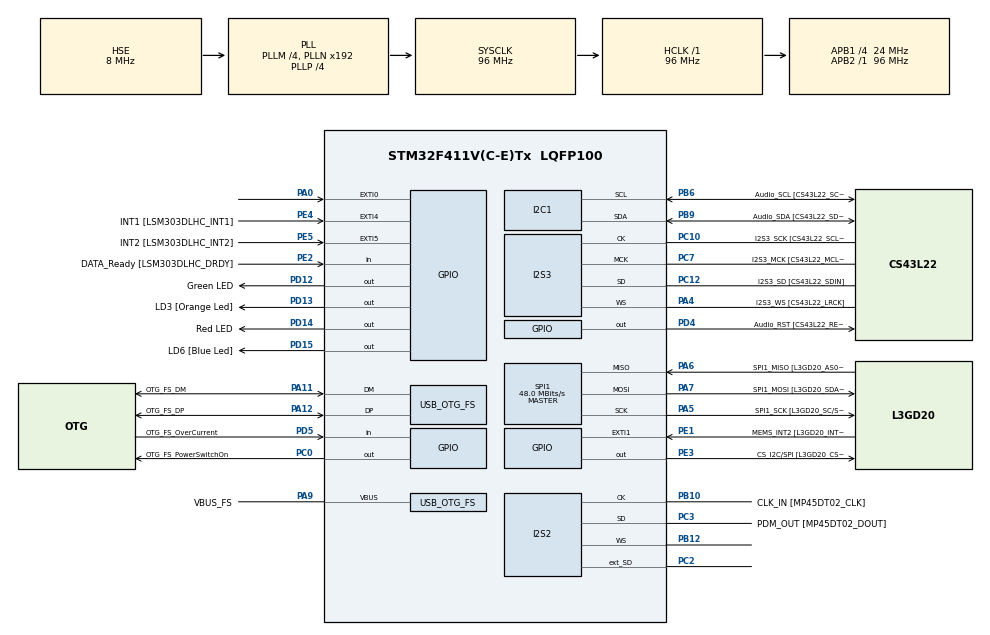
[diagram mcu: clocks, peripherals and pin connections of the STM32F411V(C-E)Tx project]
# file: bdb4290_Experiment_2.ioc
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FREERTOS.INCLUDE_vTaskDelayUntil=1
FREERTOS.Tasks01=FlashGreenLedTa,0,128,StartFlashGreenLedTask,Default,NULL,Dynamic,NULL,NULL;FlashRedLedTask,0,128,StartRedFlashLedTask,Default,NULL,Dynamic,NULL,NULL
I2S2.AudioFreq=I2S_AUDIOFREQ_96K
I2S2.ErrorAudioFreq=0.15 %
I2S2.FullDuplexMode=I2S_FULLDUPLEXMODE_ENABLE
I2S2.Instance=SPI$Index
I2S2.RealAudioFreq=96.153 KHz
I2S2.VirtualMode=I2S_MODE_MASTER
I2S3.AudioFreq=I2S_AUDIOFREQ_96K
I2S3.ErrorAudioFreq=-6.99 %
I2S3.FullDuplexMode=I2S_FULLDUPLEXMODE_DISABLE
I2S3.Instance=SPI$Index
I2S3.RealAudioFreq=89.285 KHz
I2S3.VirtualMode=I2S_MODE_MASTER
Mcu.Family=STM32F4
Mcu.Name=STM32F411V(C-E)Tx
Mcu.Package=LQFP100
NVIC.OTG_FS_IRQn=true\:5\:0\:false\:false\:true\:true\:true\:true
NVIC.PriorityGroup=NVIC_PRIORITYGROUP_4
NVIC.TIM1_UP_TIM10_IRQn=true\:0\:0\:false\:false\:true\:false\:false\:true
NVIC.TimeBase=TIM1_UP_TIM10_IRQn
NVIC.TimeBaseIP=TIM1
PA0-WKUP.GPIO_ModeDefaultEXTI=GPIO_MODE_EVT_RISING
PA0-WKUP.Signal=GPXTI0
PA10.GPIO_Label=OTG_FS_ID
PA10.Signal=USB_OTG_FS_ID
PA11.GPIO_Label=OTG_FS_DM
PA11.Mode=Host_Only
PA11.Signal=USB_OTG_FS_DM
PA12.GPIO_Label=OTG_FS_DP
PA12.Mode=Host_Only
PA12.Signal=USB_OTG_FS_DP
PA13.GPIO_Label=SWDIO
PA13.Mode=Serial_Wire
PA13.Signal=SYS_JTMS-SWDIO
PA14.GPIO_Label=SWCLK
PA14.Mode=Serial_Wire
PA14.Signal=SYS_JTCK-SWCLK
PA4.GPIO_Label=I2S3_WS [CS43L22_LRCK]
PA4.GPIO_Mode=GPIO_MODE_AF_PP
PA4.GPIO_PuPd=GPIO_NOPULL
PA4.GPIO_Speed=GPIO_SPEED_FREQ_LOW
PA4.Mode=Half_Duplex_Master
PA4.Signal=I2S3_WS
PA5.GPIO_Label=SPI1_SCK [L3GD20_SC/SPC]
PA5.Mode=Full_Duplex_Master
PA5.Signal=SPI1_SCK
PA6.GPIO_Label=SPI1_MISO [L3GD20_AS0/SDO]
PA6.Mode=Full_Duplex_Master
PA6.Signal=SPI1_MISO
PA7.GPIO_Label=SPI1_MOSI [L3GD20_SDA/SDI/SDO]
PA7.Mode=Full_Duplex_Master
PA7.Signal=SPI1_MOSI
PA9.GPIO_Label=VBUS_FS
PA9.Mode=Activate_VBUS
PA9.Signal=USB_OTG_FS_VBUS
PB10.GPIO_Label=CLK_IN [MP45DT02_CLK]
PB10.Mode=Full_Duplex_Master
PB10.Signal=I2S2_CK
PB12.Mode=Full_Duplex_Master
PB12.Signal=I2S2_WS
PB3.GPIO_Label=SWO
PB3.Signal=SYS_JTDO-SWO
PB6.GPIO_Label=Audio_SCL [CS43L22_SCL]
PB6.GPIO_Mode=GPIO_MODE_AF_OD
PB6.GPIO_PuPd=GPIO_NOPULL
PB6.GPIO_Speed=GPIO_SPEED_FREQ_LOW
PB6.Mode=I2C
PB6.Signal=I2C1_SCL
PB9.GPIO_Label=Audio_SDA [CS43L22_SDA]
PB9.GPIO_Mode=GPIO_MODE_AF_OD
PB9.GPIO_PuPd=GPIO_NOPULL
PB9.GPIO_Speed=GPIO_SPEED_FREQ_LOW
PB9.Mode=I2C
PB9.Signal=I2C1_SDA
PC0.GPIO_Label=OTG_FS_PowerSwitchOn
PC0.PinState=GPIO_PIN_SET
PC0.Signal=GPIO_Output
PC10.GPIO_Label=I2S3_SCK [CS43L22_SCLK]
PC10.GPIO_Mode=GPIO_MODE_AF_PP
PC10.GPIO_PuPd=GPIO_NOPULL
PC10.GPIO_Speed=GPIO_SPEED_FREQ_LOW
PC10.Mode=Half_Duplex_Master
PC10.Signal=I2S3_CK
PC12.GPIO_Label=I2S3_SD [CS43L22_SDIN]
PC12.GPIO_Mode=GPIO_MODE_AF_PP
PC12.GPIO_PuPd=GPIO_NOPULL
PC12.GPIO_Speed=GPIO_SPEED_FREQ_LOW
PC12.Mode=Half_Duplex_Master
PC12.Signal=I2S3_SD
PC14-OSC32_IN.GPIO_Label=PC14-OSC32_IN
PC14-OSC32_IN.Mode=LSE-External-Oscillator
PC14-OSC32_IN.Signal=RCC_OSC32_IN
PC15-OSC32_OUT.GPIO_Label=PC15-OSC32_OUT
PC15-OSC32_OUT.Mode=LSE-External-Oscillator
PC15-OSC32_OUT.Signal=RCC_OSC32_OUT
PC2.Mode=Full_Duplex_Master
PC2.Signal=I2S2_ext_SD
PC3.GPIO_Label=PDM_OUT [MP45DT02_DOUT]
PC3.Mode=Full_Duplex_Master
PC3.Signal=I2S2_SD
PC7.GPIO_Label=I2S3_MCK [CS43L22_MCLK]
PC7.GPIO_Mode=GPIO_MODE_AF_PP
PC7.GPIO_PuPd=GPIO_NOPULL
PC7.GPIO_Speed=GPIO_SPEED_FREQ_LOW
PC7.Mode=Master_Clock_Activated
PC7.Signal=I2S3_MCK
PD12.GPIO_Label=Green LED
PD12.GPIO_PuPd=GPIO_NOPULL
PD12.GPIO_Speed=GPIO_SPEED_FREQ_LOW
PD12.Signal=GPIO_Output
PD13.GPIO_Label=LD3 [Orange Led]
PD13.GPIO_PuPd=GPIO_NOPULL
PD13.GPIO_Speed=GPIO_SPEED_FREQ_LOW
PD13.Signal=GPIO_Output
PD14.GPIO_Label=Red LED
PD14.GPIO_PuPd=GPIO_NOPULL
PD14.GPIO_Speed=GPIO_SPEED_FREQ_LOW
PD14.Signal=GPIO_Output
PD15.GPIO_Label=LD6 [Blue Led]
PD15.GPIO_PuPd=GPIO_NOPULL
PD15.GPIO_Speed=GPIO_SPEED_FREQ_LOW
PD15.Signal=GPIO_Output
PD4.GPIO_Label=Audio_RST [CS43L22_RESET]
PD4.Signal=GPIO_Output
PD5.GPIO_Label=OTG_FS_OverCurrent
PD5.Signal=GPIO_Input
PE1.GPIO_Label=MEMS_INT2 [L3GD20_INT2]
PE1.GPIO_ModeDefaultEXTI=GPIO_MODE_EVT_RISING
PE1.Signal=GPXTI1
PE2.GPIO_Label=DATA_Ready [LSM303DLHC_DRDY]
PE2.Signal=GPIO_Input
PE3.GPIO_Label=CS_I2C/SPI [L3GD20_CS_I2C/SPI]
PE3.Signal=GPIO_Output
PE4.GPIO_Label=INT1 [LSM303DLHC_INT1]
PE4.GPIO_ModeDefaultEXTI=GPIO_MODE_EVT_RISING
PE4.Signal=GPXTI4
PE5.GPIO_Label=INT2 [LSM303DLHC_INT2]
PE5.GPIO_ModeDefaultEXTI=GPIO_MODE_EVT_RISING
PE5.Signal=GPXTI5
PH0\ -\ OSC_IN.GPIO_Label=PH0-OSC_IN
PH0\ -\ OSC_IN.Mode=HSE-External-Clock-Source
PH0\ -\ OSC_IN.Signal=RCC_OSC_IN
PH1\ -\ OSC_OUT.GPIO_Label=PH1-OSC_OUT
PH1\ -\ OSC_OUT.Mode=HSE-External-Clock-Source
PH1\ -\ OSC_OUT.Signal=RCC_OSC_OUT
ProjectManager.HeapSize=0x200
ProjectManager.StackSize=0x400
ProjectManager.TargetToolchain=STM32CubeIDE
RCC.48MHZClocksFreq_Value=48000000
RCC.AHBFreq_Value=96000000
RCC.APB1CLKDivider=RCC_HCLK_DIV4
RCC.APB1Freq_Value=24000000
RCC.APB1TimFreq_Value=48000000
RCC.APB2Freq_Value=96000000
RCC.APB2TimFreq_Value=96000000
RCC.CortexFreq_Value=96000000
RCC.HCLKFreq_Value=96000000
RCC.HSE_VALUE=8000000
RCC.HSI_VALUE=16000000
RCC.PLLI2SM=5
RCC.PLLI2SN=200
RCC.PLLM=4
RCC.PLLP=RCC_PLLP_DIV4
RCC.PLLQ=8
RCC.SYSCLKFreq_VALUE=96000000
RCC.SYSCLKSource=RCC_SYSCLKSOURCE_PLLCLK
RCC.VCOOutputFreq_Value=384000000
SPI1.BaudRatePrescaler=SPI_BAUDRATEPRESCALER_2
SPI1.CalculateBaudRate=48.0 MBits/s
SPI1.Direction=SPI_DIRECTION_2LINES
SPI1.Mode=SPI_MODE_MASTER
SPI1.VirtualType=VM_MASTER
USB_OTG_FS.VirtualMode=Host_Only
USB_OTG_FS.phy_itface=HCD_PHY_EMBEDDED
VP_FREERTOS_VS_CMSIS_V1.Mode=CMSIS_V1
VP_SYS_VS_tim1.Mode=TIM1
board=STM32F411E-DISCO

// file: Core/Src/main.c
/* USER CODE BEGIN Header */
/**
  ******************************************************************************
  * @file           : main.c
  * @brief          : Main program body
  ******************************************************************************
  * @attention
  *
  * <h2><center>&copy; Copyright (c) 2024 STMicroelectronics.
  * All rights reserved.</center></h2>
  *
  * This software component is licensed by ST under Ultimate Liberty license
  * SLA0044, the "License"; You may not use this file except in compliance with
  * the License. You may obtain a copy of the License at:
  *                             www.st.com/SLA0044
  *
  ******************************************************************************
  */
/* USER CODE END Header */

#include "main.h"
#include "cmsis_os.h"

I2C_HandleTypeDef hi2c1;

I2S_HandleTypeDef hi2s2;
I2S_HandleTypeDef hi2s3;

SPI_HandleTypeDef hspi1;

HCD_HandleTypeDef hhcd_USB_OTG_FS;

osThreadId FlashGreenLedTaHandle;
osThreadId FlashRedLedTaskHandle;

void SystemClock_Config(void);
static void MX_GPIO_Init(void);
static void MX_I2C1_Init(void);
static void MX_I2S2_Init(void);
static void MX_I2S3_Init(void);
static void MX_SPI1_Init(void);
static void MX_USB_OTG_FS_HCD_Init(void);
void StartFlashGreenLedTask(void const * argument);
void StartRedFlashLedTask(void const * argument);

int main(void)
{

  /* MCU Configuration--------------------------------------------------------*/

  /* Reset of all peripherals, Initializes the Flash interface and the Systick. */
  HAL_Init();

  /* Configure the system clock */
  SystemClock_Config();

  /* Initialize all configured peripherals */
  MX_GPIO_Init();
  MX_I2C1_Init();
  MX_I2S2_Init();
  MX_I2S3_Init();
  MX_SPI1_Init();
  MX_USB_OTG_FS_HCD_Init();

  /* Create the thread(s) */
  /* definition and creation of FlashGreenLedTa */
  osThreadDef(FlashGreenLedTa, StartFlashGreenLedTask, osPriorityNormal, 0, 128);
  FlashGreenLedTaHandle = osThreadCreate(osThread(FlashGreenLedTa), NULL);

  /* definition and creation of FlashRedLedTask */
  osThreadDef(FlashRedLedTask, StartRedFlashLedTask, osPriorityNormal, 0, 128);
  FlashRedLedTaskHandle = osThreadCreate(osThread(FlashRedLedTask), NULL);

  /* Start scheduler */
  osKernelStart();

  /* We should never get here as control is now taken by the scheduler */

  /* Infinite loop */
  while (1)
  {

  }
}

void SystemClock_Config(void)
{
  RCC_OscInitTypeDef RCC_OscInitStruct = {0};
  RCC_ClkInitTypeDef RCC_ClkInitStruct = {0};
  RCC_PeriphCLKInitTypeDef PeriphClkInitStruct = {0};

  /** Configure the main internal regulator output voltage
  */
  __HAL_RCC_PWR_CLK_ENABLE();
  __HAL_PWR_VOLTAGESCALING_CONFIG(PWR_REGULATOR_VOLTAGE_SCALE1);
  /** Initializes the CPU, AHB and APB busses clocks
  */
  RCC_OscInitStruct.OscillatorType = RCC_OSCILLATORTYPE_HSE;
  RCC_OscInitStruct.HSEState = RCC_HSE_BYPASS;
  RCC_OscInitStruct.PLL.PLLState = RCC_PLL_ON;
  RCC_OscInitStruct.PLL.PLLSource = RCC_PLLSOURCE_HSE;
  RCC_OscInitStruct.PLL.PLLM = 4;
  RCC_OscInitStruct.PLL.PLLN = 192;
  RCC_OscInitStruct.PLL.PLLP = RCC_PLLP_DIV4;
  RCC_OscInitStruct.PLL.PLLQ = 8;
  if (HAL_RCC_OscConfig(&RCC_OscInitStruct) != HAL_OK)
  {
    Error_Handler();
  }
  /** Initializes the CPU, AHB and APB busses clocks
  */
  RCC_ClkInitStruct.ClockType = RCC_CLOCKTYPE_HCLK|RCC_CLOCKTYPE_SYSCLK
                              |RCC_CLOCKTYPE_PCLK1|RCC_CLOCKTYPE_PCLK2;
  RCC_ClkInitStruct.SYSCLKSource = RCC_SYSCLKSOURCE_PLLCLK;
  RCC_ClkInitStruct.AHBCLKDivider = RCC_SYSCLK_DIV1;
  RCC_ClkInitStruct.APB1CLKDivider = RCC_HCLK_DIV4;
  RCC_ClkInitStruct.APB2CLKDivider = RCC_HCLK_DIV1;

  if (HAL_RCC_ClockConfig(&RCC_ClkInitStruct, FLASH_LATENCY_3) != HAL_OK)
  {
    Error_Handler();
  }
  PeriphClkInitStruct.PeriphClockSelection = RCC_PERIPHCLK_I2S;
  PeriphClkInitStruct.PLLI2S.PLLI2SN = 200;
  PeriphClkInitStruct.PLLI2S.PLLI2SM = 5;
  PeriphClkInitStruct.PLLI2S.PLLI2SR = 2;
  if (HAL_RCCEx_PeriphCLKConfig(&PeriphClkInitStruct) != HAL_OK)
  {
    Error_Handler();
  }
}

static void MX_I2C1_Init(void)
{

  hi2c1.Instance = I2C1;
  hi2c1.Init.ClockSpeed = 100000;
  hi2c1.Init.DutyCycle = I2C_DUTYCYCLE_2;
  hi2c1.Init.OwnAddress1 = 0;
  hi2c1.Init.AddressingMode = I2C_ADDRESSINGMODE_7BIT;
  hi2c1.Init.DualAddressMode = I2C_DUALADDRESS_DISABLE;
  hi2c1.Init.OwnAddress2 = 0;
  hi2c1.Init.GeneralCallMode = I2C_GENERALCALL_DISABLE;
  hi2c1.Init.NoStretchMode = I2C_NOSTRETCH_DISABLE;
  if (HAL_I2C_Init(&hi2c1) != HAL_OK)
  {
    Error_Handler();
  }

}

static void MX_I2S2_Init(void)
{

  hi2s2.Instance = SPI2;
  hi2s2.Init.Mode = I2S_MODE_MASTER_TX;
  hi2s2.Init.Standard = I2S_STANDARD_PHILIPS;
  hi2s2.Init.DataFormat = I2S_DATAFORMAT_16B;
  hi2s2.Init.MCLKOutput = I2S_MCLKOUTPUT_DISABLE;
  hi2s2.Init.AudioFreq = I2S_AUDIOFREQ_96K;
  hi2s2.Init.CPOL = I2S_CPOL_LOW;
  hi2s2.Init.ClockSource = I2S_CLOCK_PLL;
  hi2s2.Init.FullDuplexMode = I2S_FULLDUPLEXMODE_ENABLE;
  if (HAL_I2S_Init(&hi2s2) != HAL_OK)
  {
    Error_Handler();
  }

}

static void MX_I2S3_Init(void)
{

  hi2s3.Instance = SPI3;
  hi2s3.Init.Mode = I2S_MODE_MASTER_TX;
  hi2s3.Init.Standard = I2S_STANDARD_PHILIPS;
  hi2s3.Init.DataFormat = I2S_DATAFORMAT_16B;
  hi2s3.Init.MCLKOutput = I2S_MCLKOUTPUT_ENABLE;
  hi2s3.Init.AudioFreq = I2S_AUDIOFREQ_96K;
  hi2s3.Init.CPOL = I2S_CPOL_LOW;
  hi2s3.Init.ClockSource = I2S_CLOCK_PLL;
  hi2s3.Init.FullDuplexMode = I2S_FULLDUPLEXMODE_DISABLE;
  if (HAL_I2S_Init(&hi2s3) != HAL_OK)
  {
    Error_Handler();
  }

}

static void MX_SPI1_Init(void)
{

  /* SPI1 parameter configuration*/
  hspi1.Instance = SPI1;
  hspi1.Init.Mode = SPI_MODE_MASTER;
  hspi1.Init.Direction = SPI_DIRECTION_2LINES;
  hspi1.Init.DataSize = SPI_DATASIZE_8BIT;
  hspi1.Init.CLKPolarity = SPI_POLARITY_LOW;
  hspi1.Init.CLKPhase = SPI_PHASE_1EDGE;
  hspi1.Init.NSS = SPI_NSS_SOFT;
  hspi1.Init.BaudRatePrescaler = SPI_BAUDRATEPRESCALER_2;
  hspi1.Init.FirstBit = SPI_FIRSTBIT_MSB;
  hspi1.Init.TIMode = SPI_TIMODE_DISABLE;
  hspi1.Init.CRCCalculation = SPI_CRCCALCULATION_DISABLE;
  hspi1.Init.CRCPolynomial = 10;
  if (HAL_SPI_Init(&hspi1) != HAL_OK)
  {
    Error_Handler();
  }

}

static void MX_USB_OTG_FS_HCD_Init(void)
{

  hhcd_USB_OTG_FS.Instance = USB_OTG_FS;
  hhcd_USB_OTG_FS.Init.Host_channels = 8;
  hhcd_USB_OTG_FS.Init.speed = HCD_SPEED_FULL;
  hhcd_USB_OTG_FS.Init.dma_enable = DISABLE;
  hhcd_USB_OTG_FS.Init.phy_itface = HCD_PHY_EMBEDDED;
  hhcd_USB_OTG_FS.Init.Sof_enable = DISABLE;
  if (HAL_HCD_Init(&hhcd_USB_OTG_FS) != HAL_OK)
  {
    Error_Handler();
  }

}

static void MX_GPIO_Init(void)
{
  GPIO_InitTypeDef GPIO_InitStruct = {0};

  /* GPIO Ports Clock Enable */
  __HAL_RCC_GPIOE_CLK_ENABLE();
  __HAL_RCC_GPIOC_CLK_ENABLE();
  __HAL_RCC_GPIOH_CLK_ENABLE();
  __HAL_RCC_GPIOA_CLK_ENABLE();
  __HAL_RCC_GPIOB_CLK_ENABLE();
  __HAL_RCC_GPIOD_CLK_ENABLE();

  /*Configure GPIO pin Output Level */
  HAL_GPIO_WritePin(CS_I2C_SPI_GPIO_Port, CS_I2C_SPI_Pin, GPIO_PIN_RESET);

  /*Configure GPIO pin Output Level */
  HAL_GPIO_WritePin(OTG_FS_PowerSwitchOn_GPIO_Port, OTG_FS_PowerSwitchOn_Pin, GPIO_PIN_SET);

  /*Configure GPIO pin Output Level */
  HAL_GPIO_WritePin(GPIOD, Green_LED_Pin|LD3_Pin|Red_LED_Pin|LD6_Pin
                          |Audio_RST_Pin, GPIO_PIN_RESET);

  /*Configure GPIO pin : DATA_Ready_Pin */
  GPIO_InitStruct.Pin = DATA_Ready_Pin;
  GPIO_InitStruct.Mode = GPIO_MODE_INPUT;
  GPIO_InitStruct.Pull = GPIO_NOPULL;
  HAL_GPIO_Init(DATA_Ready_GPIO_Port, &GPIO_InitStruct);

  /*Configure GPIO pin : CS_I2C_SPI_Pin */
  GPIO_InitStruct.Pin = CS_I2C_SPI_Pin;
  GPIO_InitStruct.Mode = GPIO_MODE_OUTPUT_PP;
  GPIO_InitStruct.Pull = GPIO_NOPULL;
  GPIO_InitStruct.Speed = GPIO_SPEED_FREQ_LOW;
  HAL_GPIO_Init(CS_I2C_SPI_GPIO_Port, &GPIO_InitStruct);

  /*Configure GPIO pins : INT1_Pin INT2_Pin MEMS_INT2_Pin */
  GPIO_InitStruct.Pin = INT1_Pin|INT2_Pin|MEMS_INT2_Pin;
  GPIO_InitStruct.Mode = GPIO_MODE_EVT_RISING;
  GPIO_InitStruct.Pull = GPIO_NOPULL;
  HAL_GPIO_Init(GPIOE, &GPIO_InitStruct);

  /*Configure GPIO pin : OTG_FS_PowerSwitchOn_Pin */
  GPIO_InitStruct.Pin = OTG_FS_PowerSwitchOn_Pin;
  GPIO_InitStruct.Mode = GPIO_MODE_OUTPUT_PP;
  GPIO_InitStruct.Pull = GPIO_NOPULL;
  GPIO_InitStruct.Speed = GPIO_SPEED_FREQ_LOW;
  HAL_GPIO_Init(OTG_FS_PowerSwitchOn_GPIO_Port, &GPIO_InitStruct);

  /*Configure GPIO pin : PA0 */
  GPIO_InitStruct.Pin = GPIO_PIN_0;
  GPIO_InitStruct.Mode = GPIO_MODE_EVT_RISING;
  GPIO_InitStruct.Pull = GPIO_NOPULL;
  HAL_GPIO_Init(GPIOA, &GPIO_InitStruct);

  /*Configure GPIO pins : Green_LED_Pin LD3_Pin Red_LED_Pin LD6_Pin
                           Audio_RST_Pin */
  GPIO_InitStruct.Pin = Green_LED_Pin|LD3_Pin|Red_LED_Pin|LD6_Pin
                          |Audio_RST_Pin;
  GPIO_InitStruct.Mode = GPIO_MODE_OUTPUT_PP;
  GPIO_InitStruct.Pull = GPIO_NOPULL;
  GPIO_InitStruct.Speed = GPIO_SPEED_FREQ_LOW;
  HAL_GPIO_Init(GPIOD, &GPIO_InitStruct);

  /*Configure GPIO pin : OTG_FS_OverCurrent_Pin */
  GPIO_InitStruct.Pin = OTG_FS_OverCurrent_Pin;
  GPIO_InitStruct.Mode = GPIO_MODE_INPUT;
  GPIO_InitStruct.Pull = GPIO_NOPULL;
  HAL_GPIO_Init(OTG_FS_OverCurrent_GPIO_Port, &GPIO_InitStruct);

}

void StartFlashGreenLedTask(void const * argument) {
  /* USER CODE BEGIN 5 */
  /* Infinite loop */
 TickType_t TaskTimeStamp;
 TickType_t DelayTimeMsec = 4000;
 TaskTimeStamp = xTaskGetTickCount();
  for(;;)
  {
    HAL_GPIO_WritePin(GPIOD,GPIO_PIN_15,GPIO_PIN_SET);//Turn On Blue LED
    HAL_GPIO_TogglePin(GPIOD,GPIO_PIN_12);//Toggle Green LED
    osDelayUntil(&TaskTimeStamp,DelayTimeMsec);//toggle every 4 seconds
    HAL_GPIO_WritePin(GPIOD,GPIO_PIN_15,GPIO_PIN_RESET);//Turn Off Blue LED
    osDelay(6000);
  }
  /* USER CODE END 5 */
}
void StartRedFlashLedTask(void const * argument) {
  /* USER CODE BEGIN StartRedFlashLedTask */
  /* Infinite loop */
	TickType_t TaskTimeStamp;
	 TaskTimeStamp = xTaskGetTickCount();
  for(;;)
  {
	  HAL_GPIO_WritePin(GPIOD,GPIO_PIN_13,GPIO_PIN_SET);//Turn On Orange LED
	      HAL_GPIO_TogglePin(GPIOD,GPIO_PIN_14);//Toggle Red LED
	      osDelayUntil(&TaskTimeStamp,500);//toggle every 0.5 sec
	      HAL_GPIO_WritePin(GPIOD,GPIO_PIN_13,GPIO_PIN_RESET);//Turn Off Orange LED
	      osDelay(1500);//delay for 1.5 sec
  }
  /* USER CODE END StartRedFlashLedTask */
}

void HAL_TIM_PeriodElapsedCallback(TIM_HandleTypeDef *htim)
{
  if (htim->Instance == TIM1) {
    HAL_IncTick();
  }
}

void Error_Handler(void)
{
}

/************************ (C) COPYRIGHT STMicroelectronics *****END OF FILE****/
